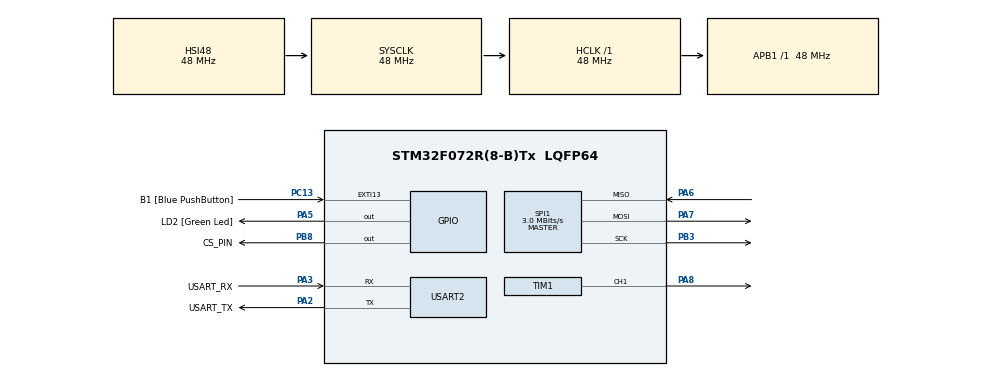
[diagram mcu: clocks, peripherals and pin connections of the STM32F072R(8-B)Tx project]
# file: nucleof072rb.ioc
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Mcu.Family=STM32F0
Mcu.Name=STM32F072R(8-B)Tx
Mcu.Package=LQFP64
PA13.GPIO_Label=TMS
PA13.Mode=Serial_Wire
PA13.Signal=SYS_SWDIO
PA14.GPIO_Label=TCK
PA14.Mode=Serial_Wire
PA14.Signal=SYS_SWCLK
PA2.GPIO_Label=USART_TX
PA2.GPIO_Mode=GPIO_MODE_AF_PP
PA2.GPIO_PuPd=GPIO_NOPULL
PA2.GPIO_Speed=GPIO_SPEED_FREQ_LOW
PA2.Mode=Asynchronous
PA2.Signal=USART2_TX
PA3.GPIO_Label=USART_RX
PA3.GPIO_Mode=GPIO_MODE_AF_PP
PA3.GPIO_PuPd=GPIO_NOPULL
PA3.GPIO_Speed=GPIO_SPEED_FREQ_LOW
PA3.Mode=Asynchronous
PA3.Signal=USART2_RX
PA5.GPIO_Label=LD2 [Green Led]
PA5.GPIO_Mode=GPIO_MODE_OUTPUT_PP
PA5.GPIO_PuPd=GPIO_NOPULL
PA5.GPIO_Speed=GPIO_SPEED_FREQ_LOW
PA5.Signal=GPIO_Output
PA6.Mode=Full_Duplex_Master
PA6.Signal=SPI1_MISO
PA7.Mode=Full_Duplex_Master
PA7.Signal=SPI1_MOSI
PA8.Signal=S_TIM1_CH1
PB3.Mode=Full_Duplex_Master
PB3.Signal=SPI1_SCK
PB8.GPIO_Label=CS_PIN
PB8.Signal=GPIO_Output
PC13.GPIO_Label=B1 [Blue PushButton]
PC13.GPIO_ModeDefaultEXTI=GPIO_MODE_IT_FALLING
PC13.Signal=GPXTI13
PC14-OSC32_IN.Mode=LSE-External-Oscillator
PC14-OSC32_IN.Signal=RCC_OSC32_IN
PC15-OSC32_OUT.Mode=LSE-External-Oscillator
PC15-OSC32_OUT.Signal=RCC_OSC32_OUT
PF0-OSC_IN.Mode=HSE-External-Clock-Source
PF0-OSC_IN.Signal=RCC_OSC_IN
PF1-OSC_OUT.Signal=RCC_OSC_OUT
ProjectManager.HeapSize=0x200
ProjectManager.StackSize=0x400
ProjectManager.TargetToolchain=STM32CubeIDE
RCC.AHBFreq_Value=48000000
RCC.APB1Freq_Value=48000000
RCC.APB1TimFreq_Value=48000000
RCC.FLatency-AdvancedSettings=FLASH_LATENCY_1
RCC.HCLKFreq_Value=48000000
RCC.PLLDivider=RCC_PREDIV_DIV2
RCC.PLLMUL=RCC_PLL_MUL12
RCC.PREFETCH_ENABLE-AdvancedSettings=1
RCC.SYSCLKFreq_VALUE=48000000
RCC.SYSCLKSource=RCC_SYSCLKSOURCE_HSI48
SH.S_TIM1_CH1.0=TIM1_CH1,PWM Generation1 CH1
SPI1.BaudRatePrescaler=SPI_BAUDRATEPRESCALER_16
SPI1.CalculateBaudRate=3.0 MBits/s
SPI1.DataSize=SPI_DATASIZE_8BIT
SPI1.Direction=SPI_DIRECTION_2LINES
SPI1.Mode=SPI_MODE_MASTER
SPI1.VirtualType=VM_MASTER
TIM1.Channel-PWM\ Generation1\ CH1=TIM_CHANNEL_1
TIM1.Period=64000
TIM1.Prescaler=15
USART2.VirtualMode=VM_ASYNC
USART2.VirtualMode-Asynchronous=VM_ASYNC
VP_TIM1_VS_ClockSourceINT.Mode=Internal
board=NUCLEO-F072RB

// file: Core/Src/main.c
/* USER CODE BEGIN Header */
/**
  ******************************************************************************
  * @file           : main.c
  * @brief          : Main program body
  ******************************************************************************
  * @attention
  *
  * <h2><center>&copy; Copyright (c) 2021 STMicroelectronics.
  * All rights reserved.</center></h2>
  *
  * This software component is licensed by ST under BSD 3-Clause license,
  * the "License"; You may not use this file except in compliance with the
  * License. You may obtain a copy of the License at:
  *                        opensource.org/licenses/BSD-3-Clause
  *
  ******************************************************************************
  */
/* USER CODE END Header */
#include "main.h"
#include "spi.h"
#include "tim.h"
#include "usart.h"
#include "gpio.h"

void SystemClock_Config(void);

/* USER CODE BEGIN 0 */
#define MIN_DUTY_TIME 3200
#define MAX_DUTY_TIME 6400
#define MAX_ADC_VALUE 1023

/* USER CODE END 0 */

int main(void)
{

  /* MCU Configuration--------------------------------------------------------*/

  /* Reset of all peripherals, Initializes the Flash interface and the Systick. */
  HAL_Init();

  /* Configure the system clock */
  SystemClock_Config();

  /* Initialize all configured peripherals */
  MX_GPIO_Init();
  MX_USART2_UART_Init();
  MX_SPI1_Init();
  MX_TIM1_Init();
  /* USER CODE BEGIN 2 */
  HAL_TIM_PWM_Start(&htim1, TIM_CHANNEL_1);

  uint8_t SPI_TX[3];
  uint8_t SPI_RX[3];
  uint32_t ADC_Value;
  uint32_t Register_Value;

  // Setup bits for ADC
  SPI_TX[0] = 0b00000001;
  SPI_TX[1] = 0b10000000;
  SPI_TX[2] = 0b00000000;

  /* USER CODE END 2 */

  /* Infinite loop */
  /* USER CODE BEGIN WHILE */
  while (1)
  {
	  // Set the CS pin to low
	  HAL_GPIO_WritePin(CS_PIN_GPIO_Port, CS_PIN_Pin, 0);

	  // Send and receive bits to ADC
	  HAL_SPI_TransmitReceive(&hspi1, SPI_TX, SPI_RX, 3, HAL_MAX_DELAY);

	  // Set the CS pin to high
	  HAL_GPIO_WritePin(CS_PIN_GPIO_Port, CS_PIN_Pin, 1);

	  // Convert the received bits into a number from 0 to 1023
	  ADC_Value = ((SPI_RX[1] & 0b00000011) << 8) | SPI_RX[2];

	  // Converts the ADC value into an appropriate value to set the register
	  Register_Value = MIN_DUTY_TIME + ((ADC_Value * (MAX_DUTY_TIME-MIN_DUTY_TIME)) / MAX_ADC_VALUE);

	  __HAL_TIM_SET_COMPARE(&htim1, TIM_CHANNEL_1, Register_Value);

	  HAL_Delay(10);

    /* USER CODE END WHILE */

  }
}

void SystemClock_Config(void)
{
  RCC_OscInitTypeDef RCC_OscInitStruct = {0};
  RCC_ClkInitTypeDef RCC_ClkInitStruct = {0};
  RCC_PeriphCLKInitTypeDef PeriphClkInit = {0};

  /** Initializes the RCC Oscillators according to the specified parameters
  * in the RCC_OscInitTypeDef structure.
  */
  RCC_OscInitStruct.OscillatorType = RCC_OSCILLATORTYPE_HSI48;
  RCC_OscInitStruct.HSI48State = RCC_HSI48_ON;
  RCC_OscInitStruct.PLL.PLLState = RCC_PLL_NONE;
  if (HAL_RCC_OscConfig(&RCC_OscInitStruct) != HAL_OK)
  {
    Error_Handler();
  }
  /** Initializes the CPU, AHB and APB buses clocks
  */
  RCC_ClkInitStruct.ClockType = RCC_CLOCKTYPE_HCLK|RCC_CLOCKTYPE_SYSCLK
                              |RCC_CLOCKTYPE_PCLK1;
  RCC_ClkInitStruct.SYSCLKSource = RCC_SYSCLKSOURCE_HSI48;
  RCC_ClkInitStruct.AHBCLKDivider = RCC_SYSCLK_DIV1;
  RCC_ClkInitStruct.APB1CLKDivider = RCC_HCLK_DIV1;

  if (HAL_RCC_ClockConfig(&RCC_ClkInitStruct, FLASH_LATENCY_1) != HAL_OK)
  {
    Error_Handler();
  }
  PeriphClkInit.PeriphClockSelection = RCC_PERIPHCLK_USART2;
  PeriphClkInit.Usart2ClockSelection = RCC_USART2CLKSOURCE_PCLK1;
  if (HAL_RCCEx_PeriphCLKConfig(&PeriphClkInit) != HAL_OK)
  {
    Error_Handler();
  }
}

void Error_Handler(void)
{
  __disable_irq();
  while (1)
  {
  }
}

/************************ (C) COPYRIGHT STMicroelectronics *****END OF FILE****/
